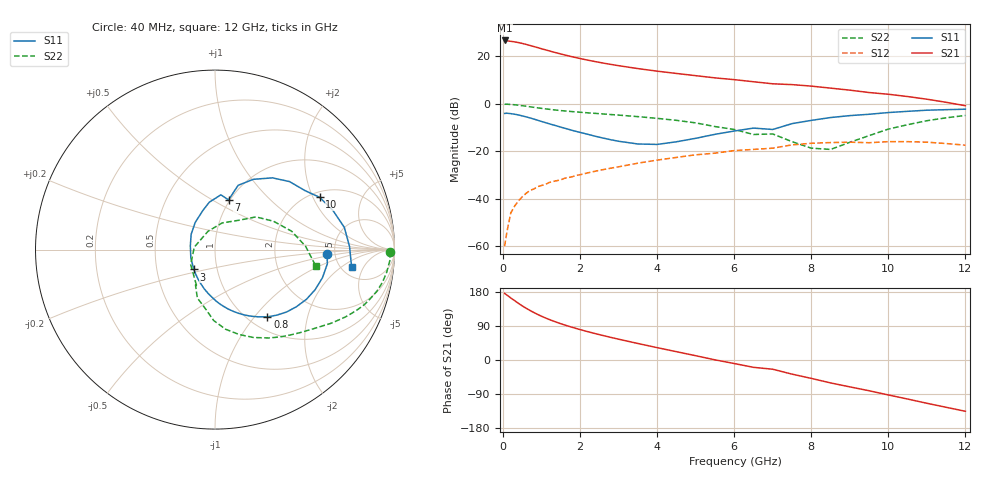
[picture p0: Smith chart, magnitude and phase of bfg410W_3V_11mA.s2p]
! Filename: 311bfg410.001
! BFG410W Field B1
! V1=8.707E-001V,V2=3.000E+000V, I1=1.643E-004A, I2=1.099E-002A
# GHz  S  MA  R 50
!  S11  S21  S12  S22
!Freq(GHz)  Mag  Ang  Mag  Ang  Mag  Ang  Mag  Ang
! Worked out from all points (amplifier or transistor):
!   44 points, 40 MHz to 12 GHz, reference 50 ohm
!   highest |S21| = 26.7 dB at 40 MHz (marker M1)
!   |S21| within 3 dB of that: start of sweep to 894.7 MHz
!   unconditionally stable (mu >= 1): 1.847 GHz to end of sweep
!   at 700 MHz: K = 0.52, MSG = 30.5 dB, |S12| = -36.5 dB
!   at 2.4 GHz: K = 1.11, MAG = 21.1 dB, |S12| = -28.4 dB
!   at 12 GHz: K = 1.50, MAG = 4.1 dB, |S12| = -17.5 dB
!   S11 on the Smith chart (normalised r, x): 40 MHz: 4.30, -0.37; 800 MHz: 1.21, -1.17; 3 GHz: 0.77, -0.18; 7 GHz: 0.98, +0.59; 10 GHz: 2.23, +2.25; 12 GHz: 6.18, -2.92
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0.04  0.625 -2.4  21.52 175.5  0.001 66.2  0.974 -0.8
0.2  0.619 -14.6  20.64 163.7  0.005 81.2  0.965 -7.5
0.4  0.58 -28.5  19.41 149.4  0.009 75.4  0.931 -14.5
0.5  0.554 -35.1  18.62 142.6  0.011 71.7  0.908 -17.4
0.6  0.529 -41.1  17.76 136.4  0.013 69.9  0.887 -20.2
0.8  0.475 -52.1  16.01 125.2  0.016 65.8  0.84 -25.0
1.1  0.4 -65.6  13.65 111.0  0.02 61.9  0.78 -30.9
1.4  0.34 -77.3  11.72 99.2  0.024 59.6  0.731 -35.8
1.8  0.274 -91.7  9.737 86.1  0.029 57.2  0.682 -41.5
2.2  0.227 -105.3  8.284 74.7  0.035 55.0  0.643 -47.2
2.6  0.189 -120.1  7.184 64.5  0.041 52.5  0.609 -52.9
3  0.162 -136.8  6.33 54.9  0.047 49.4  0.576 -58.7
3.5  0.142 -161.5  5.501 43.5  0.056 44.7  0.535 -66.3
4.5  0.158 147.2  4.343 21.9  0.074 32.9  0.447 -82.6
5.5  0.227 107.6  3.505 0.4  0.091 17.9  0.331 -99.6
6.5  0.307 83.9  2.905 -19.3  0.109 4.0  0.225 -118.9
7  0.287 74.8  2.629 -24.4  0.116 8.1  0.231 -115.8
7.5  0.381 70.2  2.528 -37.3  0.136 -6.9  0.159 -148.5
8.5  0.512 51.3  2.132 -60.4  0.152 -30.0  0.109 111.2
10  0.652 26.5  1.584 -92.3  0.159 -60.1  0.292 38.6
10.5  0.692 18.4  1.418 -103.0  0.159 -70.6  0.362 25.9
12  0.767 -7.3  0.908 -135.3  0.134 -108.8  0.567 -9.0
